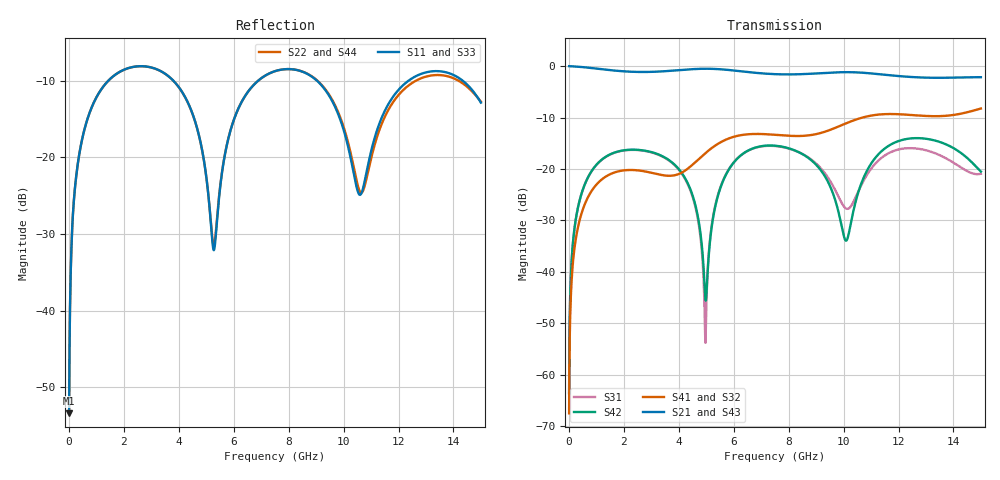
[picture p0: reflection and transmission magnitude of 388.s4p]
! Created with skrf 1.8.0 (http://scikit-rf.org).
# GHz S RI R 50.0
!freq ReS11 ImS11 ReS12 ImS12 ReS13 ImS13
! ReS14 ImS14
! ReS21 ImS21 ReS22 ImS22 ReS23 ImS23
! ReS24 ImS24
! ReS31 ImS31 ReS32 ImS32 ReS33 ImS33
! ReS34 ImS34
! ReS41 ImS41 ReS42 ImS42 ReS43 ImS43
! ReS44 ImS44
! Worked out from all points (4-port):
!   2499 points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, 5 MHz to 15 GHz, reference 50 ohm
!   strongest paths, dB at 5 MHz, 3.476 GHz, 7.19 GHz, 11.1 GHz, 15 GHz:
!     S21: 0.0, -1.0, -1.5, -1.5, -2.2
!     S43: 0.0, -1.0, -1.5, -1.5, -2.1
!     S41: -67.5, -21.3, -13.2, -9.5, -8.2
!     S32: -67.5, -21.3, -13.3, -9.5, -8.2
!     S42: -63.6, -17.7, -15.5, -18.2, -20.5
!     S31: -63.6, -17.8, -15.5, -19.3, -20.9
!   lowest |S11| = -53.4 dB at 5 MHz (marker M1), VSWR 1.00, Z = 50.2 + j0.13 ohm
!   |S11| at or under -10 dB: start of sweep to 1.428 GHz; 3.806 GHz to 6.883 GHz (3.076 GHz wide, 57.6 % of centre); 9.036 GHz to 12.36 GHz (3.321 GHz wide, 31 % of centre) (the widest 3 of 4)
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0.005  0.0017 0.00129  0.9983 -0.00331  8.49e-05 0.000656  -8.26e-05 -0.000414
       0.9983 -0.00331  0.0017 0.00129  -8.25e-05 -0.000414  8.49e-05 0.000656
       8.49e-05 0.000656  -8.25e-05 -0.000414  0.0017 0.00129  0.9983 -0.00331
       -8.26e-05 -0.000414  8.49e-05 0.000656  0.9983 -0.00331  0.0017 0.00129
0.3126303  0.0255 0.0848  0.9652 -0.2055  0.0114 0.0388  -0.00959 -0.0242
           0.9652 -0.2055  0.0255 0.0848  -0.00959 -0.0242  0.0115 0.0388
           0.0114 0.0388  -0.00959 -0.0242  0.0255 0.0848  0.9652 -0.2055
           -0.00959 -0.0242  0.0115 0.0388  0.9652 -0.2055  0.0255 0.0848
1.519383  0.2758 0.1776  0.5391 -0.7358  0.126 0.0591  -0.0894 -0.00459
          0.5391 -0.7358  0.2754 0.1779  -0.0894 -0.00462  0.1272 0.0575
          0.126 0.0591  -0.0894 -0.00462  0.2759 0.1775  0.5391 -0.7359
          -0.0894 -0.00459  0.1272 0.0575  0.5391 -0.7359  0.2754 0.1779
4.964569  0.0382 -0.0743  -0.9088 -0.2492  -0.00202 -0.000511  -0.0329 0.1384
          -0.9088 -0.2492  0.0395 -0.0733  -0.0335 0.1383  -0.00527 -0.00191
          -0.00202 -0.000511  -0.0335 0.1383  0.0382 -0.0752  -0.9087 -0.2493
          -0.0329 0.1384  -0.00527 -0.00191  -0.9087 -0.2493  0.0399 -0.0741
8.147145  0.3749 -0.0275  -0.0127 0.8305  0.1275 -0.0856  0.2015 -0.0576
          -0.0127 0.8305  0.3753 -0.0248  0.2015 -0.0562  0.1287 -0.0851
          0.1275 -0.0856  0.2015 -0.0562  0.375 -0.028  -0.012 0.8305
          0.2015 -0.0576  0.1287 -0.0851  -0.012 0.8305  0.375 -0.0251
10.94206  0.0743 0.0647  0.85 -0.0559  0.024 0.0925  -0.0393 -0.3256
          0.85 -0.0559  0.0715 0.0524  -0.0367 -0.326  0.0591 0.0883
          0.024 0.0925  -0.0367 -0.326  0.0735 0.062  0.8502 -0.0565
          -0.0393 -0.3256  0.0591 0.0883  0.8502 -0.0565  0.0715 0.049
15  0.1838 -0.1347  -0.5491 -0.5542  -0.0869 -0.0234  -0.2736 0.2737
    -0.5491 -0.5542  0.207 -0.103  -0.2756 0.2714  -0.0796 -0.0507
    -0.0869 -0.0234  -0.2756 0.2714  0.1785 -0.1246  -0.5561 -0.5507
    -0.2736 0.2737  -0.0796 -0.0507  -0.5561 -0.5507  0.1948 -0.1001
